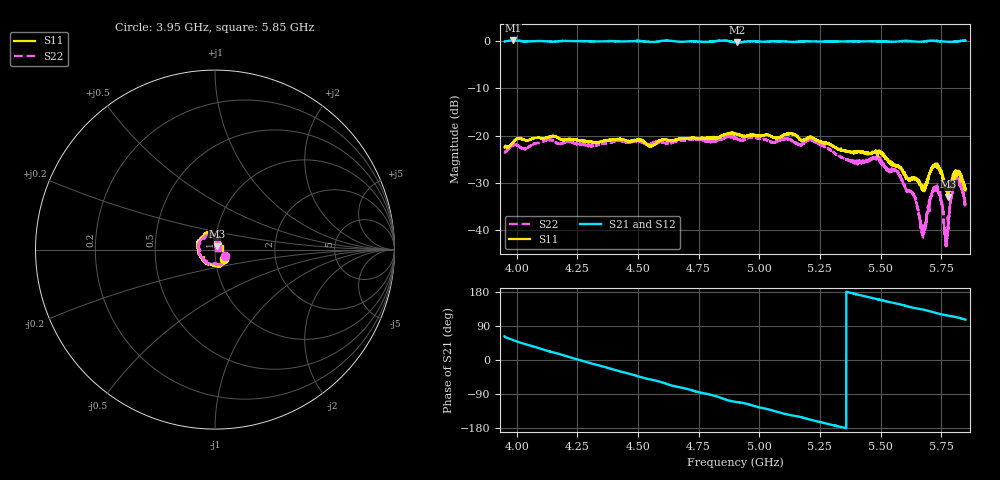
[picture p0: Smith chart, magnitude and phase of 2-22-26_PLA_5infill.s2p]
# GHZ S RI R 50.000000000000
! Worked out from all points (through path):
!   4501 points, 3.95 GHz to 5.85 GHz, reference 50 ohm
!   highest |S21| = 0.03 dB at 3.984 GHz (marker M1); lowest = -0.4 dB at 4.909 GHz (marker M2)
!   group delay of S21, straight-line fit = 452 ps
!   lowest |S11| = -32.9 dB at 5.78 GHz (marker M3), VSWR 1.05, Z = 51.2 + j1.96 ohm
!   |S11| at or under -10 dB: start of sweep to end of sweep
!   |S22| runs from -43.3 to -20.1 dB; largest |S21 - S12| = 0.053
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3.95  0.0522 -0.0539  0.4535 0.8652  0.4969 0.835  0.0552 -0.0367
3.9842  0.0685 -0.0487  0.6045 0.8005  0.6016 0.794  0.0624 -0.049
4.108756  0.0374 -0.0856  0.8739 0.4564  0.8773 0.4515  0.0376 -0.0785
4.267089  -0.00907 -0.087  0.9866 -0.0273  0.9865 -0.0284  0.00632 -0.0808
4.3946  -0.0405 -0.0807  0.8991 -0.4062  0.8967 -0.4039  -0.0294 -0.0798
4.583756  -0.0726 -0.047  0.5488 -0.8125  0.5387 -0.8099  -0.0628 -0.059
4.726467  -0.0932 -0.00966  0.1576 -0.9672  0.1519 -0.9748  -0.0886 -0.0215
4.9  -0.0938 0.0476  -0.3335 -0.9018  -0.3443 -0.9062  -0.0876 0.0367
4.908867  -0.0895 0.0504  -0.3432 -0.8919  -0.3559 -0.8969  -0.0835 0.0375
5.217089  -0.0286 0.0908  -0.9134 -0.3591  -0.9154 -0.3587  -0.0244 0.0844
5.385556  0.00169 0.067  -0.9823 0.0726  -0.9781 0.0754  0.00768 0.0536
5.483933  0.0137 0.0629  -0.9291 0.3195  -0.9308 0.3254  0.0208 0.0526
5.533756  0.0196 0.0484  -0.8735 0.4382  -0.8748 0.4473  0.015 0.0418
5.635933  0.0133 0.0341  -0.7269 0.6576  -0.728 0.6551  0.00742 0.023
5.673089  0.00716 0.0268  -0.6691 0.7108  -0.6693 0.7119  0.00482 0.00923
5.723333  0.0168 0.0458  -0.5692 0.8144  -0.5641 0.8165  0.0235 0.0138
5.746978  0.0293 0.0302  -0.5077 0.8429  -0.5024 0.8458  0.0223 -0.0015
5.769356  0.0204 0.0199  -0.4608 0.8576  -0.4488 0.8586  0.00891 0.00254
5.780333  0.0123 0.0192  -0.4368 0.8654  -0.4267 0.8613  0.00451 0.00942
5.795956  0.0126 0.0313  -0.4112 0.8789  -0.4025 0.8744  0.011 0.0232
5.812422  0.0222 0.0345  -0.3817 0.8985  -0.3797 0.8935  0.0223 0.0242
5.85  0.0252 0.00792  -0.2845 0.9533  -0.286 0.9593  0.0149 0.0116
